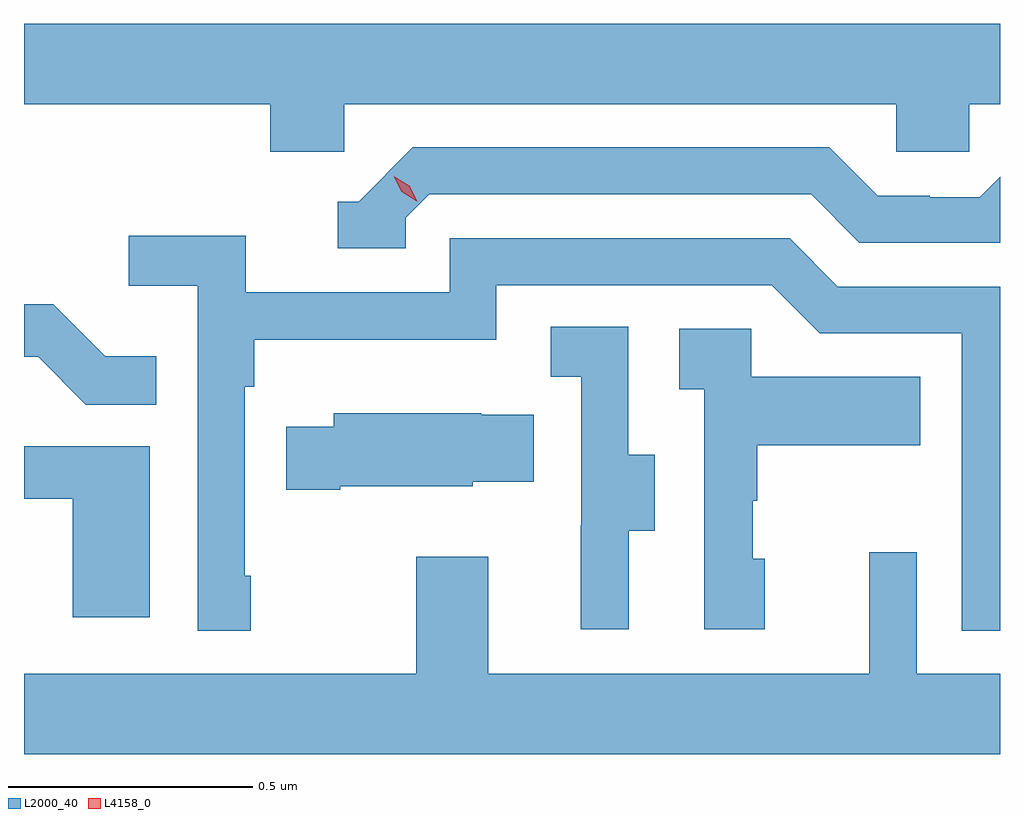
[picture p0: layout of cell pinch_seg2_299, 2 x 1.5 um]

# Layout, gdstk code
import gdstk
lib = gdstk.Library(unit=1e-6, precision=1e-09)
def P(c, l, *ps):  # polygons
    for p in ps: c.add(gdstk.Polygon(p, *l))
L2000_40 = (2000, 40)
L4158_0 = (4158, 0)

pinch_seg2_299 = lib.new_cell('pinch_seg2_299')
P(pinch_seg2_299, L2000_40, [(952.224,631.652),(953.355,631.652),(953.355,631.554),(953.505,631.554),(953.505,631.652),(953.568,631.652),(953.568,631.816),(951.568,631.816),(951.568,631.652),(952.073,631.652),(952.073,631.554),(952.224,631.554)],
  [(952.35,631.419),(952.398,631.467),(953.181,631.467),(953.28,631.368),(953.568,631.368),(953.568,631.503),(953.527,631.461),(953.424,631.461),(953.424,631.464),(953.317,631.464),(953.218,631.563),(952.365,631.563),(952.254,631.452),(952.211,631.452),(952.211,631.356),(952.35,631.356)],
  [(952.033,630.685),(952.02,630.685),(952.02,631.073),(952.04,631.073),(952.04,631.169),(952.536,631.169),(952.536,631.281),(953.1,631.281),(953.199,631.182),(953.49,631.182),(953.49,630.573),(953.568,630.573),(953.568,631.278),(953.236,631.278),(953.137,631.377),(952.44,631.377),(952.44,631.266),(952.022,631.266),(952.022,631.382),(951.783,631.382),(951.783,631.28),(951.924,631.28),(951.924,630.573),(952.033,630.573)],
  [(951.839,631.135),(951.735,631.135),(951.628,631.242),(951.568,631.242),(951.568,631.134),(951.597,631.134),(951.695,631.036),(951.839,631.036)],
  [(952.807,630.778),(952.861,630.778),(952.861,630.933),(952.806,630.933),(952.806,631.196),(952.647,631.196),(952.647,631.093),(952.71,631.093),(952.71,630.789),(952.709,630.789),(952.709,630.576),(952.807,630.576)],
  [(953.086,630.72),(953.061,630.72),(953.061,630.839),(953.071,630.839),(953.071,630.953),(953.405,630.953),(953.405,631.093),(953.058,631.093),(953.058,631.191),(952.911,631.191),(952.911,631.067),(952.962,631.067),(952.962,630.576),(953.086,630.576)],
  [(952.216,630.869),(952.488,630.869),(952.488,630.878),(952.613,630.878),(952.613,631.015),(952.505,631.015),(952.505,631.018),(952.203,631.018),(952.203,630.991),(952.105,630.991),(952.105,630.862),(952.216,630.862)],
  [(951.826,630.951),(951.568,630.951),(951.568,630.855),(951.569,630.855),(951.569,630.843),(951.668,630.843),(951.668,630.6),(951.826,630.6)],
  [(953.568,630.484),(953.397,630.484),(953.397,630.733),(953.3,630.733),(953.3,630.484),(952.519,630.484),(952.519,630.724),(952.372,630.724),(952.372,630.484),(951.568,630.484),(951.568,630.32),(953.568,630.32)])
P(pinch_seg2_299, L4158_0, [(952.373,631.453),(952.342,631.472),(952.326,631.504),(952.326,631.504),(952.326,631.504),(952.357,631.485),(952.374,631.453),(952.374,631.453)])

lib.write_gds('pinch_seg2_299.gds')
